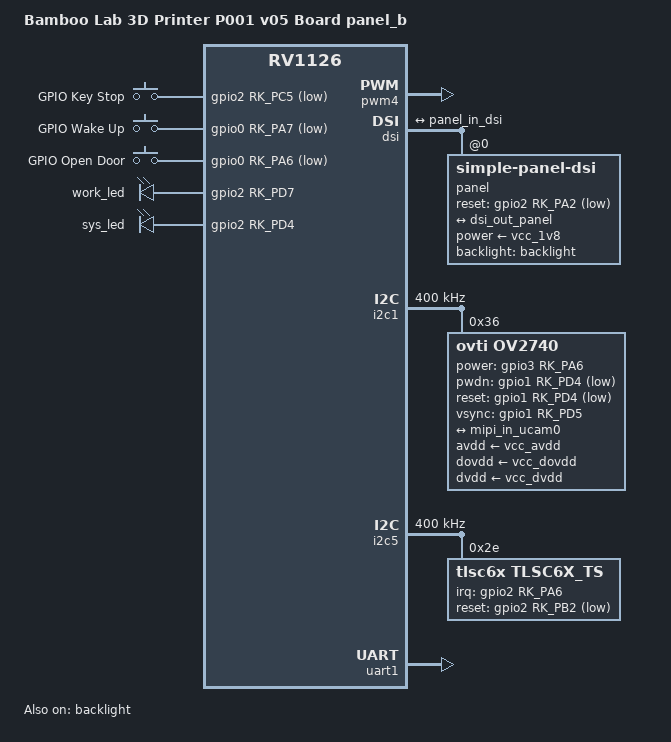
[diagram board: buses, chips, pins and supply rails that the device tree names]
// SPDX-License-Identifier: (GPL-2.0+ OR MIT)
/*
 * Copyright (c) 2020 Rockchip Electronics Co., Ltd.
 */
/dts-v1/;
#include "rv1126.dtsi"
#include "rv1126-bl-p001-v3.dtsi"
/ {
	model = "Bamboo Lab 3D Printer P001 v05 Board panel_b";
	compatible = "rockchip,rv1126";

	chosen {
		bootargs = "earlycon=uart8250,mmio32,0xff570000 console=ttyFIQ0 root=PARTUUID=614e0000-0000 rootfstype=ext4 rootwait snd_aloop.index=7";
	};

	gpio-keys {
		compatible = "gpio-keys";
		#address-cells = <1>;
		#size-cells = <0>;

		e_stop {
			gpios = <&gpio2 RK_PC5 GPIO_ACTIVE_LOW>;
			linux,code = <KEY_STOP>;
			label = "GPIO Key Stop";
			linux,input-type = <1>;
			gpio-key,wakeup = <1>;
			debounce-interval = <100>;
            pinctrl-names = "default";
            pinctrl-0 = <&e_stop_pin>;
		};

		wakeup {
			gpios = <&gpio0 RK_PA7 GPIO_ACTIVE_LOW>;
			linux,code = <KEY_POWER>;
			label = "GPIO Wake Up";
			linux,input-type = <1>;
			gpio-key,wakeup = <1>;
			debounce-interval = <100>;
            pinctrl-names = "default";
            pinctrl-0 = <&wakeup_pin>;
		};

		open_door {
			gpios = <&gpio0 RK_PA6 GPIO_ACTIVE_LOW>;
			linux,code = <KEY_OPEN>;
			label = "GPIO Open Door";
			linux,input-type = <1>;
			gpio-key,wakeup = <1>;
			debounce-interval = <100>;
            pinctrl-names = "default";
            pinctrl-0 = <&open_door_pin>;
		};
	};

	gpio-leds {
		compatible = "gpio-leds";

		work_led {
			gpios = <&gpio2 RK_PD7 GPIO_ACTIVE_HIGH>;
			linux,default-trigger = "timer";
		};

	    sys_led {
			gpios = <&gpio2 RK_PD4 GPIO_ACTIVE_HIGH>;
			linux,default-trigger = "none";
		};

	};
};

&pinctrl {
    lcd_rst {
        lcd_rst_gpio: lcd-rst-gpio {
            rockchip,pins = <2 RK_PA2 RK_FUNC_GPIO &pcfg_pull_none>;
        };
    };

	touth_panel {
		pinctrl_tlsc6x: pinctrl_tlsc6x {
			rockchip,pins =
				/* tp rst */
				<2 RK_PB2 RK_FUNC_GPIO &pcfg_pull_up>,
				/* tp int */
				<2 RK_PA6 RK_FUNC_GPIO &pcfg_pull_up>;
		};
	};

    buttons {
        e_stop_pin: e_stop_pin {
			rockchip,pins = <2 RK_PC5 RK_FUNC_GPIO &pcfg_pull_up>;
        };

        wakeup_pin: wakeup_pin {
			rockchip,pins = <0 RK_PA7 RK_FUNC_GPIO &pcfg_pull_up>;
        };

        open_door_pin: open_door_pin {
			rockchip,pins = <0 RK_PA6 RK_FUNC_GPIO &pcfg_pull_up>;
        };
    };

    leds {
        work_led_pin: work_led_pin {
			rockchip,pins = <2 RK_PD7 RK_FUNC_GPIO &pcfg_pull_down>;
        };

        sys_led_pin: sys_led_pin {
			rockchip,pins = <2 RK_PD5 RK_FUNC_GPIO &pcfg_pull_down>;
        };
    };

};

&pwm4 {
	status = "okay";
	pinctrl-names = "active";
	pinctrl-0 = <&pwm4m1_pins_pull_down>;
};

&backlight {
	status = "okay";
    pwms = <&pwm4 0 25000 0>;
	pwm-names = "backlight";
	enable-gpios = <&gpio1 RK_PD7 GPIO_ACTIVE_HIGH>;
};

&dsi {
	status = "okay";

    rockchip,lane-rate = <480>;
	panel@0 {
		compatible = "simple-panel-dsi";
		reg = <0>;
		backlight = <&backlight>;
		power-supply = <&vcc_1v8>;
		prepare-delay-ms = <5>;
		reset-delay-ms = <1>;
		init-delay-ms = <80>;
		disable-delay-ms = <10>;
		unprepare-delay-ms = <5>;

        reset-gpios = <&gpio2 RK_PA2 GPIO_ACTIVE_LOW>;
        pinctrl-names = "default";
        pinctrl-0 = <&lcd_rst_gpio>;

		width-mm = <68>;
		height-mm = <121>;

		dsi,flags = <(MIPI_DSI_MODE_VIDEO | MIPI_DSI_MODE_VIDEO_BURST |
			      MIPI_DSI_MODE_LPM | MIPI_DSI_MODE_EOT_PACKET)>;
		dsi,format = <MIPI_DSI_FMT_RGB888>;
		dsi,lanes = <4>;

		panel-init-sequence = [
			39 00 04 B9 F1 12 83
			39 00 04 B2 C8 12 F0
			39 00 0B B3 10 10 28 28 03 FF 00 00 00 00
			39 00 02 B4 80
			39 00 03 B5 13 13
			39 00 03 B6 6B 6B
			39 00 02 B8 26
			39 00 1C BA 33 81 05 F9 0E 06 20 00 00 00 00 00 00 00 44 25 00 91 0A 00 00 01 4F 01 00 00 37
			39 00 02 BC 4E
			39 00 04 BF 02 11 00
			39 00 0A C0 73 73 50 50 00 00 12 70 00
			39 00 0D C1 84 00 32 32 99 F1 AF AF 8C 8C 37 37
			39 00 07 C6 82 00 BF FF 00 E0
			39 00 02 CC 0B
			39 00 23 E0 00 1A 1F 2D 32 3F 4F 41 07 0C 0C 11 12 10 13 11 19 00 1A 1F 2D 32 3F 4F 41 07 0C 0C 11 12 10 13 11 19
			39 00 0F E3 03 03 03 03 00 03 00 00 00 00 FF 80 C0 10
			39 00 40 E9 C8 10 06 05 01 80 5C 12 31 23 4F 82 80 5C 47 08 00 20 02 00 00 00 00 20 02 00 00 00 F5 88 87 75 53 31 11 88 88 88 88 F4 88 86 64 42 20 00 88 88 88 88 00 00 00 00 00 00 00 00 00 00 00 00 00
			39 00 3E EA 00 1A 00 00 00 00 02 00 00 00 00 00 80 F8 80 02 24 46 64 88 88 88 88 81 F8 81 13 35 57 75 88 88 88 88 23 00 00 00 C6 00 00 00 00 00 00 00 00 00 00 00 00 00 00 00 40 80 5C 00 00 00 00
			39 00 02 C7 10
			05 FA 01 11
			05 32 01 29
			];

        panel-exit-sequence = [
            05 14 01 28
            05 32 01 10
            ];

        display-timings {
			native-mode = <&timing0>;

			timing0: timing0 {
				clock-frequency = <71000000>;
				hactive = <720>;
				vactive = <1280>;
				hfront-porch = <100>;
				hsync-len = <30>;
				hback-porch = <70>;
				vfront-porch = <16>;
				vsync-len = <2>;
				vback-porch = <10>;
				hsync-active = <0>;
				vsync-active = <0>;
				de-active = <0>;
				pixelclk-active = <0>;
			};
		};

		ports {
			#address-cells = <1>;
			#size-cells = <0>;

			port@0 {
				reg = <0>;
				panel_in_dsi: endpoint {
					remote-endpoint = <&dsi_out_panel>;
				};
			};
		};
	};

	ports {
		#address-cells = <1>;
		#size-cells = <0>;

		port@1 {
			reg = <1>;
			dsi_out_panel: endpoint {
				remote-endpoint = <&panel_in_dsi>;
			};
		};
	};

};

&i2c1 {
	status = "okay";
	clock-frequency = <400000>;

	ov2740: ov2740@36 {
		compatible = "ovti,ov2740";
		reg = <0x36>;

		clocks = <&cru CLK_MIPICSI_OUT>;
		clock-names = "xvclk";

		power-domains = <&power RV1126_PD_VI>;
		pinctrl-names = "rockchip,camera_default";
		pinctrl-0 = <&mipicsi_clk0>;
		power-gpios = <&gpio3 RK_PA6 GPIO_ACTIVE_HIGH>;
		pwdn-gpios = <&gpio1 RK_PD4 GPIO_ACTIVE_LOW>;
		reset-gpios = <&gpio1 RK_PD4 GPIO_ACTIVE_LOW>;
		vsync-gpios = <&gpio1 RK_PD5 GPIO_ACTIVE_HIGH>;

		avdd-supply = <&vcc_avdd>;
		dovdd-supply = <&vcc_dovdd>;
		dvdd-supply = <&vcc_dvdd>;

		rockchip,camera-module-index = <0>;
		rockchip,camera-module-facing = "front";
		rockchip,camera-module-name = "YT-RV1109-2-V1";
		rockchip,camera-module-lens-name = "40IR-2MP-F20";
		port {
			reg = <0x7010 0x100>;
			ucam_out0: endpoint {
				remote-endpoint = <&mipi_in_ucam0>;
				data-lanes = <1 2>;
			};
		};
	};
};

&i2c5 {
	status = "okay";
	pinctrl-0 = <&i2c5m2_xfer>;
	clock-frequency = <400000>;

	tlsc6x_ts@2e {
		compatible = "tlsc6x,tlsc6x_ts";
		reg = <0x2e>;
		pinctrl-names = "default";
		pinctrl-0 = <&pinctrl_tlsc6x>;
		tlsc6x,irq-gpio = <&gpio2 RK_PA6 IRQ_TYPE_EDGE_FALLING>;
		tlsc6x,reset-gpio = <&gpio2 RK_PB2 GPIO_ACTIVE_LOW>;
		TP_MAX_X = <720>;
		TP_MAX_Y = <1280>;
	};
};

&uart1 {
    status = "okay";
    pinctrl-names = "default";
    dma-names = "tx", "rx";
    pinctrl-0 = <&uart1m0_xfer>;
};

&sdmmc {
        max-frequency = <25000000>;
};
